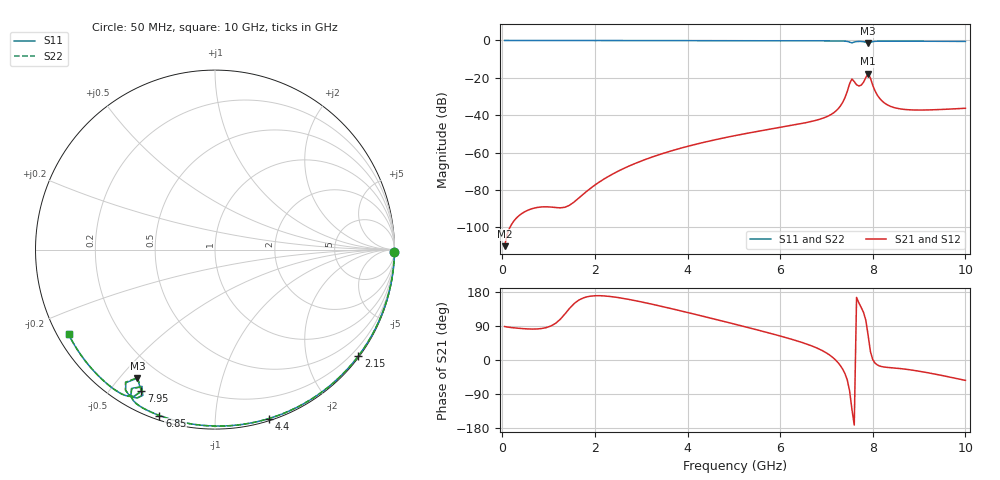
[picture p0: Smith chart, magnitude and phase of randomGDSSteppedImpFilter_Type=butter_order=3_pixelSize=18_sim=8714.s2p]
! freq	dB(S11)	phase(S11)	dB(S12)	phase(S12)
!  dB(S21)	phase(S21)	dB(S22)	phase(S22)
!S-par simulation data
#  GHz  S  DB  R 50
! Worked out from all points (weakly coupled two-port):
!   200 points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, 50 MHz to 10 GHz, reference 50 ohm
!   highest |S21| = -17.78 dB at 7.9 GHz (marker M1); lowest = -110.1 dB at 50 MHz (marker M2)
!   lowest |S11| = -1.5 dB at 7.9 GHz (marker M3), VSWR 11.28, Z = 5.83 - j27.9 ohm
!   |S11| at or under -10 dB: nowhere
!   |S22| runs from -1.6 to 0.0 dB; largest |S21 - S12| = 0
!   S11 on the Smith chart (normalised r, x): 50 MHz: open; 2.15 GHz: 0.03, -3.02; 4.4 GHz: 0.02, -1.37; 6.85 GHz: 0.02, -0.72; 7.95 GHz: 0.08, -0.60; 10 GHz: 0.03, -0.27
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0.05  -0.00 -0.9  -110.07 88.4  -110.07 88.4  -0.00 -0.9
1.75  -0.04 -29.9  -82.23 163.8  -82.23 163.8  -0.04 -29.9
1.85  -0.04 -31.6  -80.18 167.3  -80.18 167.3  -0.04 -31.6
2.15  -0.05 -36.6  -74.86 169.4  -74.86 169.4  -0.05 -36.6
2.75  -0.06 -46.4  -67.05 159.5  -67.05 159.5  -0.06 -46.4
3.4  -0.08 -56.9  -61.00 142.7  -61.00 142.7  -0.08 -56.9
4.4  -0.10 -72.4  -54.23 113.5  -54.23 113.5  -0.10 -72.4
5.05  -0.13 -82.2  -50.80 93.7  -50.80 93.7  -0.13 -82.2
6.7  -0.21 -106.3  -43.20 36.3  -43.20 36.3  -0.21 -106.3
6.85  -0.22 -108.5  -42.20 28.5  -42.20 28.5  -0.22 -108.5
7.1  -0.25 -112.4  -39.61 10.3  -39.61 10.3  -0.25 -112.4
7.3  -0.29 -116.0  -35.10 -14.7  -35.10 -14.7  -0.29 -115.9
7.4  -0.38 -118.3  -30.58 -36.0  -30.58 -36.0  -0.38 -118.3
7.55  -1.27 -118.1  -20.62 -130.1  -20.62 -130.1  -1.24 -118.2
7.7  -0.52 -119.2  -24.34 150.7  -24.34 150.7  -0.52 -119.3
7.8  -0.64 -122.4  -22.39 125.7  -22.39 125.7  -0.65 -122.5
7.9  -1.54 -121.1  -17.78 65.0  -17.78 65.0  -1.58 -121.2
7.95  -1.01 -117.5  -20.21 21.9  -20.21 21.9  -1.03 -117.4
8.1  -0.40 -121.8  -29.32 -13.2  -29.32 -13.2  -0.40 -121.8
8.35  -0.35 -126.5  -34.89 -19.9  -34.89 -19.9  -0.35 -126.5
8.85  -0.39 -134.0  -37.18 -26.7  -37.18 -26.7  -0.39 -134.0
10  -0.51 -149.9  -36.28 -53.8  -36.28 -53.8  -0.51 -149.9
